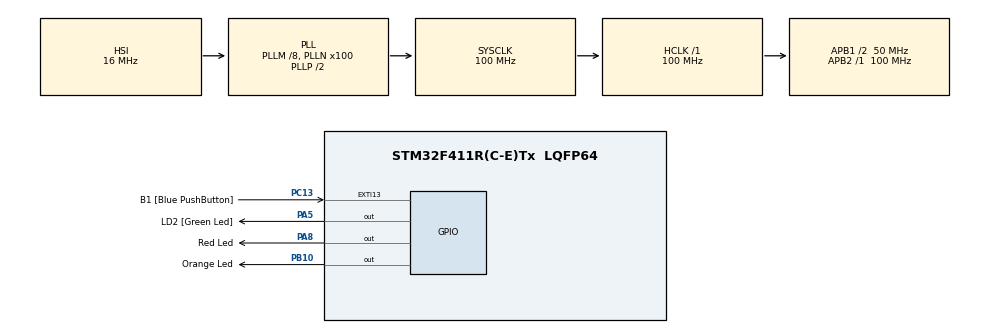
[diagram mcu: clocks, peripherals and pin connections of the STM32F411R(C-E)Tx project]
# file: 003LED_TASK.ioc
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Mcu.Family=STM32F4
Mcu.Name=STM32F411R(C-E)Tx
Mcu.Package=LQFP64
NVIC.PriorityGroup=NVIC_PRIORITYGROUP_4
NVIC.TIM3_IRQn=true\:15\:0\:false\:false\:true\:false\:true\:true
NVIC.TimeBase=TIM3_IRQn
NVIC.TimeBaseIP=TIM3
PA13.GPIO_Label=TMS
PA13.Signal=SYS_JTMS-SWDIO
PA14.GPIO_Label=TCK
PA14.Signal=SYS_JTCK-SWCLK
PA2.GPIO_Label=USART_TX
PA2.Signal=USART2_TX
PA3.GPIO_Label=USART_RX
PA3.Signal=USART2_RX
PA5.GPIO_Label=LD2 [Green Led]
PA5.Signal=GPIO_Output
PA8.GPIO_Label=Red Led
PA8.Signal=GPIO_Output
PB10.GPIO_Label=Orange Led
PB10.Signal=GPIO_Output
PB3.GPIO_Label=SWO
PB3.Signal=SYS_JTDO-SWO
PC13-ANTI_TAMP.GPIO_Label=B1 [Blue PushButton]
PC13-ANTI_TAMP.GPIO_ModeDefaultEXTI=GPIO_MODE_IT_FALLING
PC13-ANTI_TAMP.Signal=GPXTI13
PC14-OSC32_IN.Signal=RCC_OSC32_IN
PC15-OSC32_OUT.Signal=RCC_OSC32_OUT
PH0\ -\ OSC_IN.Signal=RCC_OSC_IN
PH1\ -\ OSC_OUT.Signal=RCC_OSC_OUT
ProjectManager.HeapSize=0x200
ProjectManager.StackSize=0x400
ProjectManager.TargetToolchain=STM32CubeIDE
RCC.48MHZClocksFreq_Value=50000000
RCC.AHBFreq_Value=100000000
RCC.APB1CLKDivider=RCC_HCLK_DIV2
RCC.APB1Freq_Value=50000000
RCC.APB1TimFreq_Value=100000000
RCC.APB2Freq_Value=100000000
RCC.APB2TimFreq_Value=100000000
RCC.CortexFreq_Value=100000000
RCC.FLatency-AdvancedSettings=FLASH_LATENCY_3
RCC.HCLKFreq_Value=100000000
RCC.HSE_VALUE=8000000
RCC.HSI_VALUE=16000000
RCC.LSE_VALUE=32768
RCC.PLLM=8
RCC.PLLN=100
RCC.SYSCLKFreq_VALUE=100000000
RCC.SYSCLKSource=RCC_SYSCLKSOURCE_PLLCLK
RCC.VCOOutputFreq_Value=200000000
VP_SYS_VS_tim3.Mode=TIM3
board=NUCLEO-F411RE

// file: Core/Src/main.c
/* USER CODE BEGIN Header */
/**
 ******************************************************************************
 * @file           : main.c
 * @brief          : Main program body
 ******************************************************************************
 * @attention
 *
 * Copyright (c) 2024 STMicroelectronics.
 * All rights reserved.
 *
 * This software is licensed under terms that can be found in the LICENSE file
 * in the root directory of this software component.
 * If no LICENSE file comes with this software, it is provided AS-IS.
 *
 ******************************************************************************
 */
/* USER CODE END Header */
#include "main.h"

/* USER CODE BEGIN Includes */
#include "SEGGER_SYSVIEW.h"
#include "FreeRTOS.h"
#include "task.h"
#include <stdio.h>

/* USER CODE END Includes */

/* USER CODE BEGIN PV */

#define DWT_CTRL (*(volatile uint32_t *)0xE0001000)

/* USER CODE END PV */

void SystemClock_Config(void);
static void MX_GPIO_Init(void);
/* USER CODE BEGIN PFP */
void led_red_handler(void *parameters);
void led_orange_handler(void *parameters);
void led_green_handler(void *parameters);
extern void SEGGER_UART_init(uint32_t);

/* USER CODE END PFP */

int main(void)
{
  /* USER CODE BEGIN 1 */

	TaskHandle_t green_handle;
	TaskHandle_t red_handle;
	TaskHandle_t orange_handle;

	BaseType_t status;

  /* USER CODE END 1 */

  /* MCU Configuration--------------------------------------------------------*/

  /* Reset of all peripherals, Initializes the Flash interface and the Systick. */
  HAL_Init();

  /* Configure the system clock */
  SystemClock_Config();

  /* Initialize all configured peripherals */
  MX_GPIO_Init();
  /* USER CODE BEGIN 2 */

	//Enale the CYCNT counter
	DWT_CTRL |= (1 << 0);

	SEGGER_UART_init(500000);

	SEGGER_SYSVIEW_Conf();

	//SEGGER_SYSVIEW_Start();

	status = xTaskCreate(led_green_handler, "led_green_handler_task", 200,
			"Hello world form Task-1", 2, &green_handle);

	configASSERT(status == pdPASS);

	status = xTaskCreate(led_red_handler, "led_red_handler_task", 200,
			"Hello world form Task-2", 2, &red_handle);

	configASSERT(status == pdPASS);

	status = xTaskCreate(led_orange_handler, "led_orange_handler_task", 200,
				"Hello world form Task-2", 2, &orange_handle);

		configASSERT(status == pdPASS);

	//start the freeRTOS scheduler
	vTaskStartScheduler();

	//if the control stop here is not enough FreRTOOS heap.

  /* USER CODE END 2 */

  /* Infinite loop */
	while (1) {

	}
}

void SystemClock_Config(void)
{
  RCC_OscInitTypeDef RCC_OscInitStruct = {0};
  RCC_ClkInitTypeDef RCC_ClkInitStruct = {0};

  /** Configure the main internal regulator output voltage
  */
  __HAL_RCC_PWR_CLK_ENABLE();
  __HAL_PWR_VOLTAGESCALING_CONFIG(PWR_REGULATOR_VOLTAGE_SCALE1);

  /** Initializes the RCC Oscillators according to the specified parameters
  * in the RCC_OscInitTypeDef structure.
  */
  RCC_OscInitStruct.OscillatorType = RCC_OSCILLATORTYPE_HSI;
  RCC_OscInitStruct.HSIState = RCC_HSI_ON;
  RCC_OscInitStruct.HSICalibrationValue = RCC_HSICALIBRATION_DEFAULT;
  RCC_OscInitStruct.PLL.PLLState = RCC_PLL_ON;
  RCC_OscInitStruct.PLL.PLLSource = RCC_PLLSOURCE_HSI;
  RCC_OscInitStruct.PLL.PLLM = 8;
  RCC_OscInitStruct.PLL.PLLN = 100;
  RCC_OscInitStruct.PLL.PLLP = RCC_PLLP_DIV2;
  RCC_OscInitStruct.PLL.PLLQ = 4;
  if (HAL_RCC_OscConfig(&RCC_OscInitStruct) != HAL_OK)
  {
    Error_Handler();
  }

  /** Initializes the CPU, AHB and APB buses clocks
  */
  RCC_ClkInitStruct.ClockType = RCC_CLOCKTYPE_HCLK|RCC_CLOCKTYPE_SYSCLK
                              |RCC_CLOCKTYPE_PCLK1|RCC_CLOCKTYPE_PCLK2;
  RCC_ClkInitStruct.SYSCLKSource = RCC_SYSCLKSOURCE_PLLCLK;
  RCC_ClkInitStruct.AHBCLKDivider = RCC_SYSCLK_DIV1;
  RCC_ClkInitStruct.APB1CLKDivider = RCC_HCLK_DIV2;
  RCC_ClkInitStruct.APB2CLKDivider = RCC_HCLK_DIV1;

  if (HAL_RCC_ClockConfig(&RCC_ClkInitStruct, FLASH_LATENCY_3) != HAL_OK)
  {
    Error_Handler();
  }
}

static void MX_GPIO_Init(void)
{
  GPIO_InitTypeDef GPIO_InitStruct = {0};

  /* GPIO Ports Clock Enable */
  __HAL_RCC_GPIOC_CLK_ENABLE();
  __HAL_RCC_GPIOH_CLK_ENABLE();
  __HAL_RCC_GPIOA_CLK_ENABLE();
  __HAL_RCC_GPIOB_CLK_ENABLE();

  /*Configure GPIO pin Output Level */
  HAL_GPIO_WritePin(GPIOA, LD2_Pin|Red_Led_Pin, GPIO_PIN_RESET);

  /*Configure GPIO pin Output Level */
  HAL_GPIO_WritePin(Orange_Led_GPIO_Port, Orange_Led_Pin, GPIO_PIN_RESET);

  /*Configure GPIO pin : B1_Pin */
  GPIO_InitStruct.Pin = B1_Pin;
  GPIO_InitStruct.Mode = GPIO_MODE_IT_FALLING;
  GPIO_InitStruct.Pull = GPIO_NOPULL;
  HAL_GPIO_Init(B1_GPIO_Port, &GPIO_InitStruct);

  /*Configure GPIO pins : USART_TX_Pin USART_RX_Pin */
  GPIO_InitStruct.Pin = USART_TX_Pin|USART_RX_Pin;
  GPIO_InitStruct.Mode = GPIO_MODE_AF_PP;
  GPIO_InitStruct.Pull = GPIO_NOPULL;
  GPIO_InitStruct.Speed = GPIO_SPEED_FREQ_VERY_HIGH;
  GPIO_InitStruct.Alternate = GPIO_AF7_USART2;
  HAL_GPIO_Init(GPIOA, &GPIO_InitStruct);

  /*Configure GPIO pins : LD2_Pin Red_Led_Pin */
  GPIO_InitStruct.Pin = LD2_Pin|Red_Led_Pin;
  GPIO_InitStruct.Mode = GPIO_MODE_OUTPUT_PP;
  GPIO_InitStruct.Pull = GPIO_NOPULL;
  GPIO_InitStruct.Speed = GPIO_SPEED_FREQ_LOW;
  HAL_GPIO_Init(GPIOA, &GPIO_InitStruct);

  /*Configure GPIO pin : Orange_Led_Pin */
  GPIO_InitStruct.Pin = Orange_Led_Pin;
  GPIO_InitStruct.Mode = GPIO_MODE_OUTPUT_PP;
  GPIO_InitStruct.Pull = GPIO_NOPULL;
  GPIO_InitStruct.Speed = GPIO_SPEED_FREQ_LOW;
  HAL_GPIO_Init(Orange_Led_GPIO_Port, &GPIO_InitStruct);

}

/* USER CODE BEGIN 4 */

void led_green_handler(void *parameters) {

	while (1) {
		SEGGER_SYSVIEW_PrintfTarget("Toggling Green");
		HAL_GPIO_TogglePin(GPIOA, LD2_Pin);
		HAL_Delay(1000);
	}

}

void led_red_handler(void *parameters) {

	while (1) {
		SEGGER_SYSVIEW_PrintfTarget("Toggling red");
		HAL_GPIO_TogglePin(GPIOA, Red_Led_Pin);
		HAL_Delay(800);
	}

}

void led_orange_handler(void *parameters) {

	while (1) {
		SEGGER_SYSVIEW_PrintfTarget("Toggling Orange");
		HAL_GPIO_TogglePin(GPIOB, Orange_Led_Pin);
		HAL_Delay(400);
	}

}
/* USER CODE END 4 */

void HAL_TIM_PeriodElapsedCallback(TIM_HandleTypeDef *htim)
{
  if (htim->Instance == TIM3) {
    HAL_IncTick();
  }
}

void Error_Handler(void)
{
	__disable_irq();
	while (1) {
	}
}
